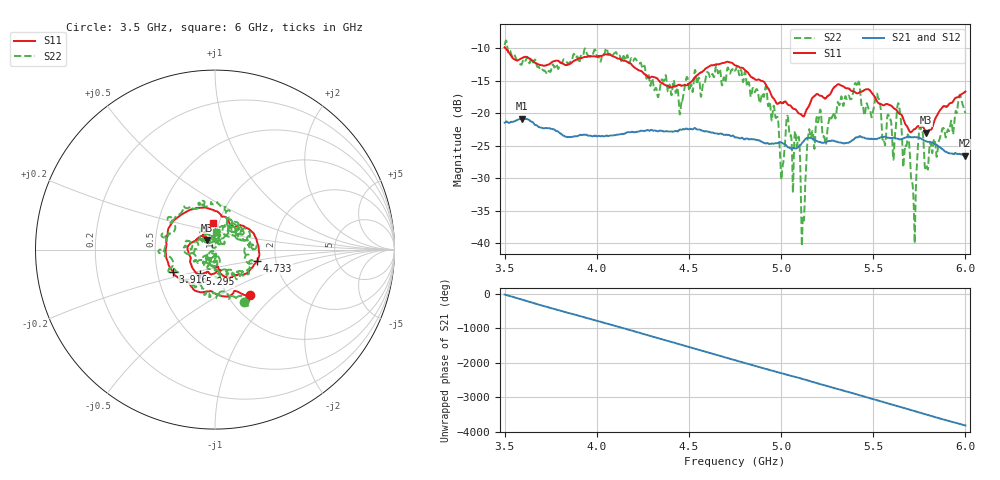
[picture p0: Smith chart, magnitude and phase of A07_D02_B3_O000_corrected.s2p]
! Created with skrf 1.9.0 (http://scikit-rf.org).
# Hz S RI R 50.0
!freq ReS11 ImS11 ReS21 ImS21 ReS12 ImS12 ReS22 ImS22
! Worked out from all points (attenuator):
!   1601 points, 3.5 GHz to 6 GHz, reference 50 ohm
!   highest |S21| = -20.81 dB at 3.592 GHz (marker M1); lowest = -26.5 dB at 5.997 GHz (marker M2)
!   lowest |S11| = -23.0 dB at 5.787 GHz (marker M3), VSWR 1.15, Z = 45.4 + j4.96 ohm
!   |S11| at or under -10 dB: 3.505 GHz to end of sweep
!   |S22| runs from -40.5 to -8.8 dB; largest |S21 - S12| = 0.001
!   S11 on the Smith chart (normalised r, x): 3.5 GHz: 1.26, -0.72; 3.916 GHz: 0.60, -0.16; 4.733 GHz: 1.60, -0.22; 5.295 GHz: 0.81, -0.23; 6 GHz: 0.94, +0.28
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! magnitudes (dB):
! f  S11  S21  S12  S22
! 3.5 GHz  -9.8  -21.5  -21.4  -9.5
! 3.592 GHz  -11.5  -20.8  -20.8  -12.5
! 3.916 GHz  -11.5  -23.4  -23.3  -11.1
! 3.917 GHz  -11.5  -23.4  -23.3  -11.0
! 4.334 GHz  -14.9  -22.8  -22.7  -17.4
! 4.733 GHz  -12.2  -23.5  -23.5  -13.3
! 4.75 GHz  -12.6  -23.7  -23.6  -13.4
! 4.925 GHz  -16.0  -24.6  -24.6  -17.6
! 5.005 GHz  -18.4  -24.5  -24.5  -29.2
! 5.034 GHz  -18.6  -25.2  -25.1  -20.4
! 5.088 GHz  -19.7  -25.3  -25.3  -24.9
! 5.119 GHz  -20.5  -24.4  -24.3  -35.9
! 5.167 GHz  -17.7  -23.9  -23.8  -23.0
! 5.295 GHz  -15.8  -24.3  -24.3  -20.8
! 5.412 GHz  -16.9  -23.7  -23.7  -15.7
! 5.584 GHz  -18.7  -23.8  -23.7  -20.4
! 5.641 GHz  -20.0  -24.0  -23.9  -18.9
! 5.719 GHz  -22.5  -23.7  -23.6  -33.5
! 5.755 GHz  -22.1  -23.9  -23.8  -22.2
! 5.787 GHz  -23.0  -24.3  -24.3  -28.0
! 5.997 GHz  -16.7  -26.5  -26.4  -19.7
! 6 GHz  -16.7  -26.5  -26.4  -20.0
